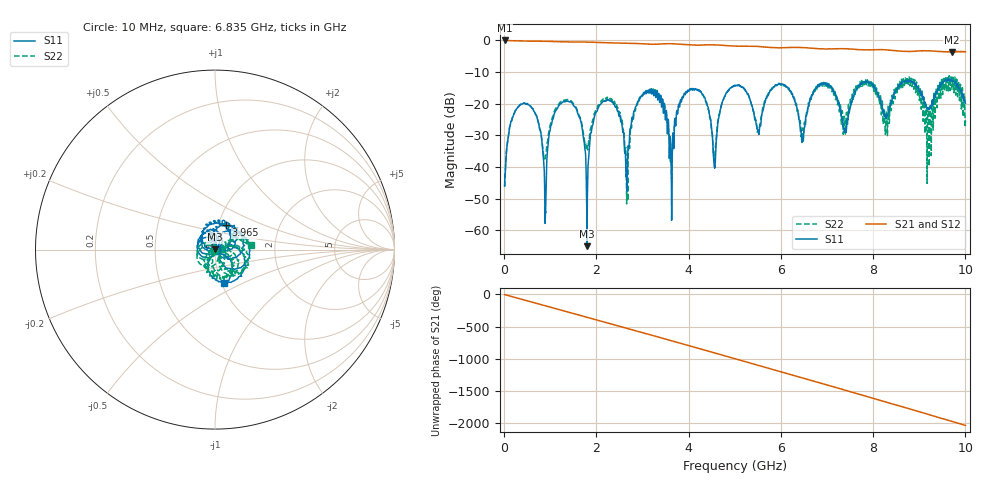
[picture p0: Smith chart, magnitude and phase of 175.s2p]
!Keysight Technologies,E5080B,MY59205177,A.15.75.32
!Date: Friday, February 23, 2024 03:43:44
!Correction: S11(Cdelta 2-Port  )
!S21(Cdelta 2-Port  )
!S12(Cdelta 2-Port  )
!S22(Cdelta 2-Port  )
!S2P File: Measurements: S11, S21, S12, S22:
# Hz S  dB  R 50
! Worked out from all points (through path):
!   10001 points, 10 MHz to 10 GHz, reference 50 ohm
!   highest |S21| = -0.01 dB at 14 MHz (marker M1); lowest = -3.7 dB at 9.701 GHz (marker M2)
!   group delay of S21, straight-line fit = 566 ps
!   lowest |S11| = -65.1 dB at 1.797 GHz (marker M3), VSWR 1.00, Z = 50 + j0.0557 ohm
!   |S11| at or under -10 dB: start of sweep to end of sweep
!   |S22| runs from -51.7 to -11.1 dB; largest |S21 - S12| = 0.0016
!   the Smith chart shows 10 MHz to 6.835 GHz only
!   S11 on the Smith chart (normalised r, x): 10 MHz: 1.01, -0.00; 3.965 GHz: 1.09, +0.30; 6.835 GHz: 1.03, -0.40
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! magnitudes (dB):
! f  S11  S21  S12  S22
! 10 MHz  -46.1  0.0  0.0  -45.9
! 14 MHz  -43.3  0.0  0.0  -45.4
! 374.6 MHz  -20.1  -0.2  -0.2  -20.1
! 888.1 MHz  -57.1  -0.3  -0.3  -37.3
! 1.175 GHz  -20.8  -0.4  -0.4  -20.3
! 1.675 GHz  -26.3  -0.5  -0.5  -25.7
! 1.797 GHz  -65.1  -0.5  -0.5  -33.5
! 2.108 GHz  -19.8  -0.7  -0.7  -19.0
! 2.664 GHz  -47.6  -0.9  -0.9  -43.3
! 2.907 GHz  -19.3  -1.0  -1.0  -18.8
! 3.341 GHz  -17.5  -1.1  -1.1  -17.6
! 3.627 GHz  -46.9  -1.0  -1.0  -41.5
! 3.965 GHz  -16.5  -1.3  -1.3  -16.1
! 4.562 GHz  -40.1  -1.4  -1.4  -38.5
! 5.005 GHz  -14.1  -1.8  -1.8  -14.4
! 6.107 GHz  -14.6  -2.3  -2.3  -14.7
! 6.464 GHz  -31.8  -2.3  -2.3  -27.7
! 6.67 GHz  -17.3  -2.5  -2.5  -17.0
! 6.835 GHz  -14.3  -2.6  -2.6  -13.9
! 8.336 GHz  -22.6  -3.1  -3.1  -20.9
! 9.701 GHz  -12.3  -3.7  -3.7  -13.8
! 10 GHz  -19.9  -3.6  -3.6  -25.3
